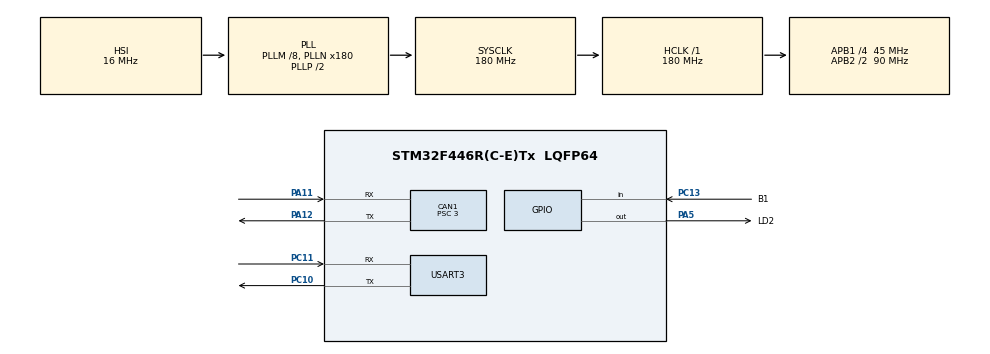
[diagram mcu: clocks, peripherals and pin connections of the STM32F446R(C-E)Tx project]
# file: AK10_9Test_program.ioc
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CAN1.BS1=CAN_BS1_12TQ
CAN1.BS2=CAN_BS2_2TQ
CAN1.CalculateBaudRate=1000000
CAN1.CalculateTimeBit=1000
CAN1.CalculateTimeQuantum=66.66666666666666
CAN1.Prescaler=3
Mcu.Family=STM32F4
Mcu.Name=STM32F446R(C-E)Tx
Mcu.Package=LQFP64
NVIC.CAN1_RX0_IRQn=true\:0\:0\:false\:false\:true\:true\:true\:true
NVIC.PriorityGroup=NVIC_PRIORITYGROUP_4
NVIC.USART3_IRQn=true\:0\:0\:false\:false\:true\:true\:true\:true
PA11.Mode=CAN_Activate
PA11.Signal=CAN1_RX
PA12.Mode=CAN_Activate
PA12.Signal=CAN1_TX
PA5.GPIO_Label=LD2
PA5.Signal=GPIO_Output
PC10.Mode=Asynchronous
PC10.Signal=USART3_TX
PC11.Mode=Asynchronous
PC11.Signal=USART3_RX
PC13.GPIO_Label=B1
PC13.Signal=GPIO_Input
ProjectManager.HeapSize=0x200
ProjectManager.StackSize=0x400
ProjectManager.TargetToolchain=STM32CubeIDE
RCC.AHBFreq_Value=180000000
RCC.APB1CLKDivider=RCC_HCLK_DIV4
RCC.APB1Freq_Value=45000000
RCC.APB1TimFreq_Value=90000000
RCC.APB2CLKDivider=RCC_HCLK_DIV2
RCC.APB2Freq_Value=90000000
RCC.APB2TimFreq_Value=180000000
RCC.CortexFreq_Value=180000000
RCC.HCLKFreq_Value=180000000
RCC.PLLM=8
RCC.PLLN=180
RCC.SYSCLKFreq_VALUE=180000000
RCC.SYSCLKSource=RCC_SYSCLKSOURCE_PLLCLK
RCC.USBFreq_Value=180000000
RCC.VCOOutputFreq_Value=360000000
USART3.VirtualMode=VM_ASYNC
board=custom

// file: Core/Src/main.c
/* USER CODE BEGIN Header */
/**
  ******************************************************************************
  * @file           : main.c
  * @brief          : Main program body
  ******************************************************************************
  * @attention
  *
  * Copyright (c) 2026 STMicroelectronics.
  * All rights reserved.
  *
  * This software is licensed under terms that can be found in the LICENSE file
  * in the root directory of this software component.
  * If no LICENSE file comes with this software, it is provided AS-IS.
  *
  ******************************************************************************
  */
/* USER CODE END Header */
#include "main.h"

/* USER CODE BEGIN Includes */
#include "AK10_9_Driver.h"

/* USER CODE END Includes */

CAN_HandleTypeDef hcan1;

UART_HandleTypeDef huart3;

/* USER CODE BEGIN PV */
uint8_t motor_mode = 0;
uint8_t is_calibrated = 0; // 狀態標籤：0 代表還沒紀錄站立點，1 代表已紀錄
// 儲存馬達即時狀態的變數
float motor_pos = 0.0f;    // 即時位置
float motor_vel = 0.0f;    // 即時速度
float motor_tor = 0.0f;    // 即時扭矩
float current_error = 0.0f;//誤差
static float error_sum = 0.0f;//誤差積分
volatile float cc = 0.0f;//誤差因子

// 按下按鈕瞬間要鎖定的「目標位置」
float target_pos = 0.0f;

//感測器中斷接收
uint8_t rx_byte;          // 每次只接 1 個字元，防卡死
char rx_buffer[50];       // 拼湊完整字串的緩衝區
uint8_t rx_index = 0;

// 從感測器板解碼出來的最新角度
float ext_pitch = 0.0f;
float ext_roll = 0.0f;
float ext_yaw = 0.0f;

/* USER CODE END PV */

void SystemClock_Config(void);
static void MX_GPIO_Init(void);
static void MX_CAN1_Init(void);
static void MX_USART3_UART_Init(void);

int main(void)
{

  /* MCU Configuration--------------------------------------------------------*/

  /* Reset of all peripherals, Initializes the Flash interface and the Systick. */
  HAL_Init();

  /* Configure the system clock */
  SystemClock_Config();

  /* Initialize all configured peripherals */
  MX_GPIO_Init();
  MX_CAN1_Init();
  MX_USART3_UART_Init();
  /* USER CODE BEGIN 2 */
  CAN_FilterTypeDef canfilterconfig;
  canfilterconfig.FilterActivation = CAN_FILTER_ENABLE;
  canfilterconfig.FilterBank = 0;
  canfilterconfig.FilterMode = CAN_FILTERMODE_IDMASK;
  canfilterconfig.FilterScale = CAN_FILTERSCALE_32BIT;

  // 🚨 關鍵：將 Id 和 Mask 全設為 0，代表「接收所有 ID 的封包」，不做過濾
  canfilterconfig.FilterIdHigh = 0x0000;
  canfilterconfig.FilterIdLow = 0x0000;
  canfilterconfig.FilterMaskIdHigh = 0x0000;
  canfilterconfig.FilterMaskIdLow = 0x0000;

  canfilterconfig.FilterFIFOAssignment = CAN_RX_FIFO0;
  HAL_CAN_ConfigFilter(&hcan1, &canfilterconfig);

  HAL_CAN_Start(&hcan1);
  HAL_CAN_ActivateNotification(&hcan1, CAN_IT_RX_FIFO0_MSG_PENDING);

  AK10_9_EnableMotor(&hcan1, 0x01);

  // 啟動 USART3 中斷接收
  HAL_UART_Receive_IT(&huart3, &rx_byte, 1);
  /* USER CODE END 2 */

  /* Infinite loop */
  /* USER CODE BEGIN WHILE */
  /* USER CODE BEGIN WHILE */
  while (1)
  {
      // --- 1. 偵測藍色按鈕 (B1 / PC13) ---
	  // --- 1. 偵測藍色按鈕 (B1 / PC13) ---
	      printf("%.1f\r\n", motor_pos);
	      if (HAL_GPIO_ReadPin(GPIOC, GPIO_PIN_13) == GPIO_PIN_RESET)
	      {
	          // 【狀態 A：按鈕被按住】
	          if (is_calibrated == 0)
	          {
	              // 第一次按：紀錄站立點
	              target_pos = motor_pos;
	              is_calibrated = 1;
	          }
	          else
	          {
	              // 已經紀錄過：啟動拉起模式
	              motor_mode = 1;
	          }
	      }
	      else
	      {
	          // 【狀態 B：按鈕放開】
	          motor_mode = 0; // 放開就立刻變回自由模式，讓您可以彎腰
	      }
      // --- 2. 執行馬達動作 ---
      if (motor_mode == 0)
      {
          // 🟢 自由模式：參數全為 0，您可以自由轉動馬達 (此時 motor_pos 會不斷變化)
          AK10_9_SendCommand(&hcan1, 0x01, 0.0f, 0.0f, 0.0f, 0.0f, 0.0f);
          HAL_GPIO_WritePin(GPIOA, GPIO_PIN_5, GPIO_PIN_RESET);
          error_sum = 0.0f;
      }
      else
      {
    	  // 精確計算誤差 (目標位置 - 目前真實位置)
    	  current_error = target_pos - motor_pos;
    	  // 累積誤差 (積分)，每次迴圈只加一點點
    	  if(current_error <= -0.2f || current_error >= 0.2f) cc = 0.1f;
    	  if(current_error > -0.2f && current_error <= 0.0f) cc = 0.01f;
    	  if(current_error < 0.2f && current_error >= 0.0f) cc = 0.01f;
    	  error_sum += current_error * cc;
    	  // 限制積分上限
    	  if(error_sum < -2.0f && error_sum < 0.0f) error_sum = -2.0f;
    	  if(error_sum > 2.0f && error_sum > 0.0f) error_sum = 2.0f;
    	  // 🔴 鎖定模式：以按鈕按下的那個瞬間 (target_pos) 為目標進行精準抵抗
    	  AK10_9_SendCommand(&hcan1, 0x01, target_pos, 0.0f, 1.35f, 0.5f, 0.0f + error_sum);
          HAL_GPIO_WritePin(GPIOA, GPIO_PIN_5, GPIO_PIN_SET);
      }

      HAL_Delay(10);
    /* USER CODE END WHILE */

  }
}

/* USER CODE BEGIN 4 */
// 當 RX 腳位收到任何一個字元，就會瞬間觸發這個函數
void HAL_UART_RxCpltCallback(UART_HandleTypeDef *huart)
{
    if (huart->Instance == USART3)
    {
        // 遇到 '\n' 代表感測器的一句話 ("P:-50.2,R:5.0,Y:10.0\n") 講完了
        if (rx_byte == '\n')
        {
            rx_buffer[rx_index] = '\0'; // 封裝字串

            // 🔪 核心解碼：把字串切回小數點數字
            sscanf(rx_buffer, "P:%f,R:%f,Y:%f", &ext_pitch, &ext_roll, &ext_yaw);

            rx_index = 0; // 歸零，準備接下一句
        }
        else
        {
            // 把收到的字元存進陣列
            rx_buffer[rx_index] = rx_byte;
            rx_index++;
            if (rx_index >= 50) rx_index = 0; // 防呆機制
        }

        // 再次啟動中斷，等下一個字元 (非常重要！)
        HAL_UART_Receive_IT(&huart3, &rx_byte, 1);
    }
}
/* USER CODE END 4 */

void SystemClock_Config(void)
{
  RCC_OscInitTypeDef RCC_OscInitStruct = {0};
  RCC_ClkInitTypeDef RCC_ClkInitStruct = {0};

  /** Configure the main internal regulator output voltage
  */
  __HAL_RCC_PWR_CLK_ENABLE();
  __HAL_PWR_VOLTAGESCALING_CONFIG(PWR_REGULATOR_VOLTAGE_SCALE1);

  /** Initializes the RCC Oscillators according to the specified parameters
  * in the RCC_OscInitTypeDef structure.
  */
  RCC_OscInitStruct.OscillatorType = RCC_OSCILLATORTYPE_HSI;
  RCC_OscInitStruct.HSIState = RCC_HSI_ON;
  RCC_OscInitStruct.HSICalibrationValue = RCC_HSICALIBRATION_DEFAULT;
  RCC_OscInitStruct.PLL.PLLState = RCC_PLL_ON;
  RCC_OscInitStruct.PLL.PLLSource = RCC_PLLSOURCE_HSI;
  RCC_OscInitStruct.PLL.PLLM = 8;
  RCC_OscInitStruct.PLL.PLLN = 180;
  RCC_OscInitStruct.PLL.PLLP = RCC_PLLP_DIV2;
  RCC_OscInitStruct.PLL.PLLQ = 2;
  RCC_OscInitStruct.PLL.PLLR = 2;
  if (HAL_RCC_OscConfig(&RCC_OscInitStruct) != HAL_OK)
  {
    Error_Handler();
  }

  /** Activate the Over-Drive mode
  */
  if (HAL_PWREx_EnableOverDrive() != HAL_OK)
  {
    Error_Handler();
  }

  /** Initializes the CPU, AHB and APB buses clocks
  */
  RCC_ClkInitStruct.ClockType = RCC_CLOCKTYPE_HCLK|RCC_CLOCKTYPE_SYSCLK
                              |RCC_CLOCKTYPE_PCLK1|RCC_CLOCKTYPE_PCLK2;
  RCC_ClkInitStruct.SYSCLKSource = RCC_SYSCLKSOURCE_PLLCLK;
  RCC_ClkInitStruct.AHBCLKDivider = RCC_SYSCLK_DIV1;
  RCC_ClkInitStruct.APB1CLKDivider = RCC_HCLK_DIV4;
  RCC_ClkInitStruct.APB2CLKDivider = RCC_HCLK_DIV2;

  if (HAL_RCC_ClockConfig(&RCC_ClkInitStruct, FLASH_LATENCY_5) != HAL_OK)
  {
    Error_Handler();
  }
}

static void MX_CAN1_Init(void)
{

  hcan1.Instance = CAN1;
  hcan1.Init.Prescaler = 3;
  hcan1.Init.Mode = CAN_MODE_NORMAL;
  hcan1.Init.SyncJumpWidth = CAN_SJW_1TQ;
  hcan1.Init.TimeSeg1 = CAN_BS1_12TQ;
  hcan1.Init.TimeSeg2 = CAN_BS2_2TQ;
  hcan1.Init.TimeTriggeredMode = DISABLE;
  hcan1.Init.AutoBusOff = DISABLE;
  hcan1.Init.AutoWakeUp = DISABLE;
  hcan1.Init.AutoRetransmission = DISABLE;
  hcan1.Init.ReceiveFifoLocked = DISABLE;
  hcan1.Init.TransmitFifoPriority = DISABLE;
  if (HAL_CAN_Init(&hcan1) != HAL_OK)
  {
    Error_Handler();
  }

}

static void MX_USART3_UART_Init(void)
{

  huart3.Instance = USART3;
  huart3.Init.BaudRate = 115200;
  huart3.Init.WordLength = UART_WORDLENGTH_8B;
  huart3.Init.StopBits = UART_STOPBITS_1;
  huart3.Init.Parity = UART_PARITY_NONE;
  huart3.Init.Mode = UART_MODE_TX_RX;
  huart3.Init.HwFlowCtl = UART_HWCONTROL_NONE;
  huart3.Init.OverSampling = UART_OVERSAMPLING_16;
  if (HAL_UART_Init(&huart3) != HAL_OK)
  {
    Error_Handler();
  }

}

static void MX_GPIO_Init(void)
{
  GPIO_InitTypeDef GPIO_InitStruct = {0};

  /* GPIO Ports Clock Enable */
  __HAL_RCC_GPIOC_CLK_ENABLE();
  __HAL_RCC_GPIOA_CLK_ENABLE();

  /*Configure GPIO pin Output Level */
  HAL_GPIO_WritePin(LD2_GPIO_Port, LD2_Pin, GPIO_PIN_RESET);

  /*Configure GPIO pin : B1_Pin */
  GPIO_InitStruct.Pin = B1_Pin;
  GPIO_InitStruct.Mode = GPIO_MODE_INPUT;
  GPIO_InitStruct.Pull = GPIO_NOPULL;
  HAL_GPIO_Init(B1_GPIO_Port, &GPIO_InitStruct);

  /*Configure GPIO pin : LD2_Pin */
  GPIO_InitStruct.Pin = LD2_Pin;
  GPIO_InitStruct.Mode = GPIO_MODE_OUTPUT_PP;
  GPIO_InitStruct.Pull = GPIO_NOPULL;
  GPIO_InitStruct.Speed = GPIO_SPEED_FREQ_LOW;
  HAL_GPIO_Init(LD2_GPIO_Port, &GPIO_InitStruct);

}

/* USER CODE BEGIN 4 */
// 接收並解碼馬達回傳訊號的中斷函式
void HAL_CAN_RxFifo0MsgPendingCallback(CAN_HandleTypeDef *hcan)
{
    CAN_RxHeaderTypeDef rx_header;
    uint8_t rx_data[8];

    if (HAL_CAN_GetRxMessage(hcan, CAN_RX_FIFO0, &rx_header, rx_data) == HAL_OK)
    {
        // 確保這是我們要的馬達 (預設 ID=1，回傳時 ID 通常在資料的首位或由 Header 決定)
        // 針對 AK10-9 的 MIT 模式回傳格式進行位元重組：
        int p_int = (rx_data[1] << 8) | rx_data[2];
        int v_int = (rx_data[3] << 4) | (rx_data[4] >> 4);
        int t_int = ((rx_data[4] & 0x0F) << 8) | rx_data[5];

        // 轉換回浮點數 (極限值：位置 ±12.5, 速度 ±50, 扭矩 ±65)
        motor_pos = ((float)p_int * 25.0f / 65535.0f) - 12.5f;
        motor_vel = ((float)v_int * 100.0f / 4095.0f) - 50.0f;
        motor_tor = ((float)t_int * 130.0f / 4095.0f) - 65.0f;
    }
}
/* USER CODE END 4 */

void Error_Handler(void)
{
  __disable_irq();
  while (1)
  {
  }
}
